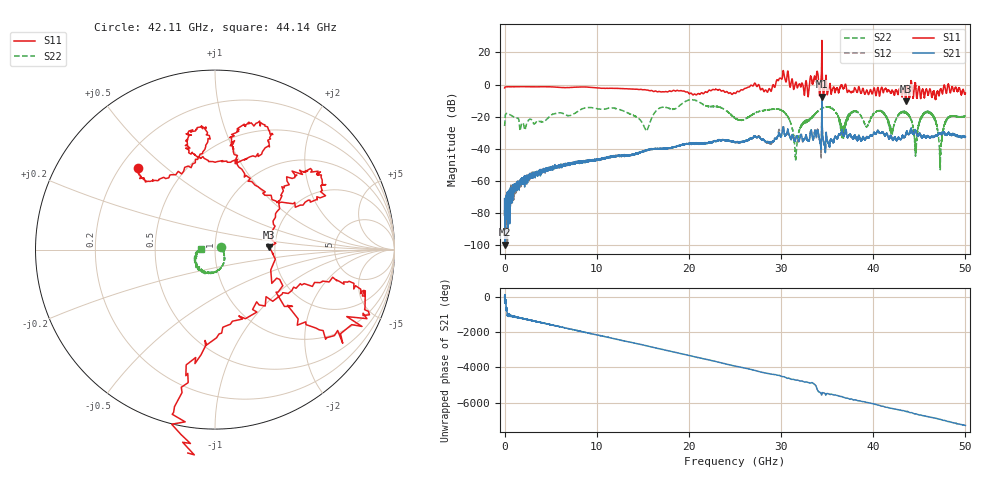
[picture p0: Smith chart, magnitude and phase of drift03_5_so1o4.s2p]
!Created with skrf (http://scikit-rf.org).
# Hz S RI R 50.0
!freq ReS11 ImS11 ReS21 ImS21 ReS12 ImS12 ReS22 ImS22
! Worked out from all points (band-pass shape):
!   10000 points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, 5.3 MHz to 50 GHz, reference 50 ohm
!   highest |S21| = -7.58 dB at 34.43 GHz (marker M1); lowest = -99.9 dB at 55.3 MHz (marker M2)
!   |S21| within 3 dB of the highest: 34.4269 GHz to 34.43401 GHz (7.114 MHz wide, 0.0207 % of centre)
!   lowest |S11| = -10.4 dB at 43.53 GHz (marker M3), VSWR 1.87, Z = 93.3 + j2.78 ohm
!   |S11| at or under -10 dB: 43.52819 GHz to 43.53326 GHz (5.073 MHz wide, 0.0117 % of centre)
!   |S22| runs from -53.1 to -9.4 dB; largest |S21 - S12| = 0.12
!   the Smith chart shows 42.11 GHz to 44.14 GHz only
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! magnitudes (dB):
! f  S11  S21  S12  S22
! 5.3 MHz  -2.1  -71.1  -78.4  -25.9
! 55.3 MHz  -1.6  -99.9  -79.0  -20.3
! 2.205 GHz  -1.3  -59.2  -58.6  -28.3
! 8.34 GHz  -1.5  -49.1  -48.4  -15.4
! 15.38 GHz  -3.5  -41.2  -41.0  -28.5
! 16.67 GHz  -4.4  -39.9  -40.1  -15.3
! 20.43 GHz  -6.5  -36.9  -36.7  -9.5
! 25.01 GHz  -5.5  -36.1  -35.8  -21.0
! 30 GHz  3.8  -32.4  -32.4  -16.0
! 31.61 GHz  1.5  -33.6  -33.7  -45.0
! 33.34 GHz  2.5  -29.9  -30.6  -20.4
! 34.43 GHz  27.5  -7.6  -9.6  -14.6
! 36.68 GHz  -2.1  -30.0  -30.1  -31.6
! 38 GHz  -1.9  -31.4  -31.6  -16.7
! 41.67 GHz  -3.5  -33.4  -33.5  -22.6
! 43.53 GHz  -10.4  -31.1  -31.3  -17.0
! 44.61 GHz  -1.0  -28.8  -28.9  -41.9
! 45.31 GHz  -3.5  -33.2  -33.1  -19.7
! 46.25 GHz  -4.2  -32.4  -32.8  -18.1
! 47.29 GHz  -3.0  -30.8  -30.7  -50.3
! 48.1 GHz  -0.3  -30.4  -30.1  -20.4
! 50 GHz  -5.4  -32.5  -32.5  -19.7
